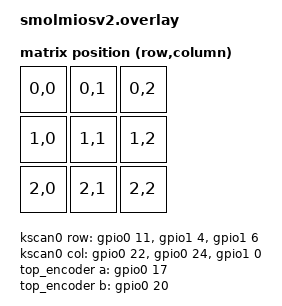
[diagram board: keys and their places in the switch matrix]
#include <dt-bindings/zmk/matrix_transform.h>

/ {
    chosen {
        zmk,kscan = &kscan0;
    };

    kscan0: kscan_0 {
        compatible = "zmk,kscan-gpio-matrix";
        diode-direction = "col2row";
        wakeup-source;

        col-gpios
            = <&gpio0 22 GPIO_ACTIVE_HIGH>
            , <&gpio0 24 GPIO_ACTIVE_HIGH>
            , <&gpio1 0 GPIO_ACTIVE_HIGH>
            ;

        row-gpios
            = <&gpio0 11 (GPIO_ACTIVE_HIGH | GPIO_PULL_DOWN)>
            , <&gpio1 4 (GPIO_ACTIVE_HIGH | GPIO_PULL_DOWN)>
            , <&gpio1 6 (GPIO_ACTIVE_HIGH | GPIO_PULL_DOWN)>
            ;
    };

        default_transform: matrix_transform {
        compatible = "zmk,matrix-transform";
        rows = <3>;
        columns = <3>;

        map = <
            RC(0,0) RC(0,1) RC(0,2)
            RC(1,0) RC(1,1) RC(1,2)
            RC(2,0) RC(2,1) RC(2,2)
        >;
    };

        top_encoder: encoder_top {
            compatible = "alps,ec11";
            label = "TOP_ENCODER";
            a-gpios = <&gpio0 17 (GPIO_ACTIVE_HIGH | GPIO_PULL_UP)>;
            b-gpios = <&gpio0 20 (GPIO_ACTIVE_HIGH | GPIO_PULL_UP)>;
            resolution = <8>;
        };

        sensors: sensors {
            compatible = "zmk,keymap-sensors";
            sensors = <&top_encoder>;
        };
};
